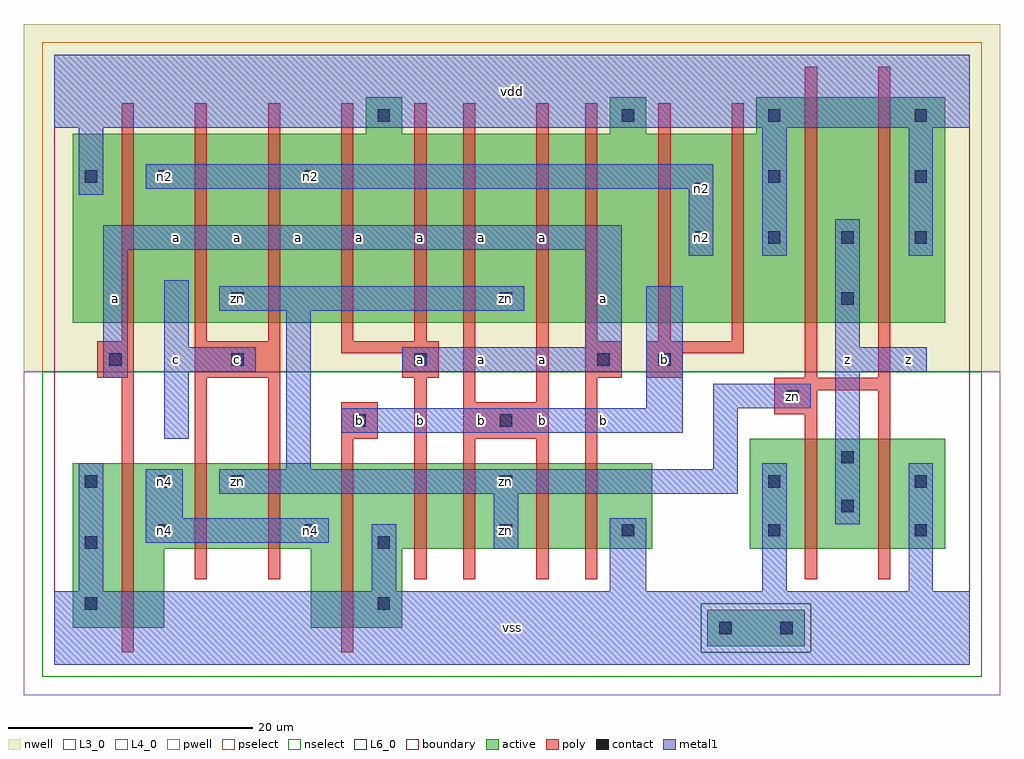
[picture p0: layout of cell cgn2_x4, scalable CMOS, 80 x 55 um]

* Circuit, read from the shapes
.subckt cgn2_x4 a b c n2 n4 vdd vss z zn
M1 n4 a vss vss nfet w=13.5u l=1u
M2 zn c n4 vss nfet w=7u l=1u m=2
M3 vss b n4 vss nfet w=13.5u l=1u
M4 n1 a vss vss nfet w=7u l=1u
M5 zn b n1 vss nfet w=7u l=1u
M6 n3 b zn vss nfet w=7u l=1u
M7 vss a n3 vss nfet w=7u l=1u
M8 z zn vss vss nfet w=9u l=1u m=2
M9 n2 a vdd n5 pfet w=15.5u l=1u m=2
M10 zn c n2 n5 pfet w=15.5u l=1u m=2
M11 n6 a vdd n5 pfet w=15.5u l=1u
M12 zn b n6 n5 pfet w=15.5u l=1u
M13 n7 b zn n5 pfet w=15.5u l=1u
M14 vdd a n7 n5 pfet w=15.5u l=1u
M15 n2 b vdd n5 pfet w=15.5u l=1u m=2
M16 z zn vdd n5 pfet w=18.5u l=1u m=2
.ends

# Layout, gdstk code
import gdstk
lib = gdstk.Library(unit=1e-6, precision=1e-09)
def R(c, l, rs):  # rectangles x0, y0, x1, y1
    for r in rs: c.add(gdstk.rectangle(r[:2], r[2:], *l))
def A(c, l, x, y, w, h, nx, ny, dx, dy):  # array of equal rectangles
    R(c, l, [(x+i*dx, y+j*dy, x+i*dx+w, y+j*dy+h) for i in range(nx) for j in range(ny)])
L3_0 = (3, 0)
L4_0 = (4, 0)
L6_0 = (6, 0)
contact = (25, 0)
pwell = (41, 0)
nwell = (42, 0)
active = (43, 0)
pselect = (44, 0)
nselect = (45, 0)
poly = (46, 0)
metal1 = (49, 0)
boundary = (63, 0)

cgn2_x4 = lib.new_cell('cgn2_x4')
R(cgn2_x4, L3_0, [(1.5,3,9,9.5), (21,3,28.5,9.5), (1.5,9.5,49,16.5), (57,9.5,73,18.5)])
R(cgn2_x4, L4_0, [(1.5,28,73,43.5), (25.5,43.5,28.5,46.5), (45.5,43.5,48.5,46.5), (57.5,43.5,73,46.5)])
R(cgn2_x4, L6_0, [(53.5,1.5,61.5,4.5)])
A(cgn2_x4, contact, 46.5, 10.5, 1, 1, 3, 2, 12, 34)
A(cgn2_x4, contact, 2.5, 14.5, 1, 1, 3, 1, 6, 0)
A(cgn2_x4, contact, 14.5, 24.5, 1, 1, 3, 1, 15, 0)
A(cgn2_x4, contact, 52.5, 34.5, 1, 1, 4, 1, 6, 0)
R(cgn2_x4, contact, [(54.5,2.5,55.5,3.5), (59.5,2.5,60.5,3.5), (2.5,4.5,3.5,5.5), (26.5,4.5,27.5,5.5), (2.5,9.5,3.5,10.5), (26.5,9.5,27.5,10.5), (8.5,10.5,9.5,11.5), (20.5,10.5,21.5,11.5), (36.5,10.5,37.5,11.5), (64.5,12.5,65.5,13.5), (36.5,14.5,37.5,15.5), (58.5,14.5,59.5,15.5), (70.5,14.5,71.5,15.5), (64.5,16.5,65.5,17.5), (24.5,19.5,25.5,20.5), (36.5,19.5,37.5,20.5), (60,21.5,61,22.5), (4.5,24.5,5.5,25.5), (49.5,24.5,50.5,25.5), (14.5,29.5,15.5,30.5), (36.5,29.5,37.5,30.5), (64.5,29.5,65.5,30.5), (52.5,38.5,53.5,39.5), (2.5,39.5,3.5,40.5), (8.5,39.5,9.5,40.5), (20.5,39.5,21.5,40.5), (58.5,39.5,59.5,40.5), (70.5,39.5,71.5,40.5), (26.5,44.5,27.5,45.5)])
R(cgn2_x4, pwell, [(-2.5,-2.5,77.5,24)])
R(cgn2_x4, nwell, [(-2.5,24,77.5,52.5)])
R(cgn2_x4, active, [(53.5,1.5,61.5,4.5), (1.5,3,9,9.5), (21,3,28.5,9.5), (1.5,9.5,49,16.5), (57,9.5,73,18.5), (1.5,28,73,43.5), (25.5,43.5,28.5,46.5), (45.5,43.5,48.5,46.5), (57.5,43.5,73,46.5)])
R(cgn2_x4, pselect, [(53,1,62,5), (-1,24,76,51)])
R(cgn2_x4, nselect, [(-1,-1,76,1), (-1,1,53,5), (62,1,76,5), (-1,5,76,24)])
A(cgn2_x4, poly, 5.5, 26.5, 1, 19.5, 5, 1, 6, 0)
A(cgn2_x4, poly, 43.5, 26.5, 1, 19.5, 3, 1, 6, 0)
R(cgn2_x4, poly, [(5.5,1,6.5,23.5), (23.5,1,24.5,18.5), (11.5,7,12.5,23.5), (17.5,7,18.5,23.5), (29.5,7,30.5,23.5), (33.5,7,34.5,18.5), (39.5,7,40.5,18.5), (43.5,7,44.5,23.5), (61.5,7,62.5,20.5), (67.5,7,68.5,22.5), (23.5,18.5,26.5,21.5), (33.5,18.5,40.5,21.5), (59,20.5,62.5,22.5), (33.5,21.5,34.5,46), (39.5,21.5,40.5,46), (59,22.5,68.5,23.5), (3.5,23.5,6.5,26.5), (11.5,23.5,18.5,26.5), (28.5,23.5,31.5,25.5), (43.5,23.5,46.5,26.5), (48.5,23.5,51.5,25.5), (61.5,23.5,62.5,49), (67.5,23.5,68.5,49), (23.5,25.5,31.5,26.5), (48.5,25.5,56.5,26.5)])
R(cgn2_x4, metal1, [(0,0,75,6), (0,0,75,6), (2,6,4,16.5), (2,6,4,16.5), (26,6,28,11.5), (26,6,28,11.5), (45.5,6,48.5,12), (45.5,6,48.5,12), (58,6,60,16.5), (58,6,60,16.5), (70,6,72,16.5), (70,6,72,16.5), (36,9.5,38,14), (36,9.5,38,14), (7.5,10,22.5,12), (7.5,10,22.5,12), (64,11.5,66,24), (64,11.5,66,24), (7.5,12,10.5,16), (7.5,12,10.5,16), (13.5,14,56,16), (13.5,14,56,16), (19,16,21,29), (19,16,21,29), (54,16,56,21), (54,16,56,21), (9,18.5,11,24), (9,18.5,11,24), (23.5,19,51.5,21), (23.5,19,51.5,21), (48.5,21,51.5,31), (48.5,21,51.5,31), (54,21,62,23), (54,21,62,23), (4,23.5,6,34), (4,23.5,6,34), (9,24,16.5,26), (9,24,16.5,26), (28.5,24,46.5,26), (28.5,24,46.5,26), (64,24,71.5,26), (64,24,71.5,26), (9,26,11,31.5), (9,26,11,31.5), (43.5,26,46.5,34), (43.5,26,46.5,34), (64,26,66,36.5), (64,26,66,36.5), (13.5,29,38.5,31), (13.5,29,38.5,31), (52,33.5,54,39), (52,33.5,54,39), (58,33.5,60,44), (58,33.5,60,44), (70,33.5,72,44), (70,33.5,72,44), (4,34,46.5,36), (4,34,46.5,36), (2,38.5,4,44), (2,38.5,4,44), (7.5,39,54,41), (7.5,39,54,41), (0,44,75,50), (0,44,75,50)])
R(cgn2_x4, boundary, [(0,0,75,50)])
cgn2_x4.add(gdstk.Label('n4', (9,11), layer=49, texttype=0))
cgn2_x4.add(gdstk.Label('n4', (9,15), layer=49, texttype=0))
cgn2_x4.add(gdstk.Label('zn', (15,15), layer=49, texttype=0))
cgn2_x4.add(gdstk.Label('zn', (15,30), layer=49, texttype=0))
cgn2_x4.add(gdstk.Label('n2', (9,40), layer=49, texttype=0))
cgn2_x4.add(gdstk.Label('n4', (21,11), layer=49, texttype=0))
cgn2_x4.add(gdstk.Label('n2', (21,40), layer=49, texttype=0))
cgn2_x4.add(gdstk.Label('zn', (37,11), layer=49, texttype=0))
cgn2_x4.add(gdstk.Label('zn', (37,15), layer=49, texttype=0))
cgn2_x4.add(gdstk.Label('zn', (37,30), layer=49, texttype=0))
cgn2_x4.add(gdstk.Label('n2', (53,35), layer=49, texttype=0))
cgn2_x4.add(gdstk.Label('n2', (53,39), layer=49, texttype=0))
cgn2_x4.add(gdstk.Label('zn', (60.5,22), layer=49, texttype=0))
cgn2_x4.add(gdstk.Label('c', (10,25), layer=49, texttype=0))
cgn2_x4.add(gdstk.Label('a', (5,30), layer=49, texttype=0))
cgn2_x4.add(gdstk.Label('a', (10,35), layer=49, texttype=0))
cgn2_x4.add(gdstk.Label('b', (25,20), layer=49, texttype=0))
cgn2_x4.add(gdstk.Label('c', (15,25), layer=49, texttype=0))
cgn2_x4.add(gdstk.Label('a', (15,35), layer=49, texttype=0))
cgn2_x4.add(gdstk.Label('a', (20,35), layer=49, texttype=0))
cgn2_x4.add(gdstk.Label('a', (25,35), layer=49, texttype=0))
cgn2_x4.add(gdstk.Label('vss', (37.5,3), layer=49, texttype=0))
cgn2_x4.add(gdstk.Label('b', (35,20), layer=49, texttype=0))
cgn2_x4.add(gdstk.Label('b', (40,20), layer=49, texttype=0))
cgn2_x4.add(gdstk.Label('b', (30,20), layer=49, texttype=0))
cgn2_x4.add(gdstk.Label('a', (30,25), layer=49, texttype=0))
cgn2_x4.add(gdstk.Label('a', (35,25), layer=49, texttype=0))
cgn2_x4.add(gdstk.Label('a', (40,25), layer=49, texttype=0))
cgn2_x4.add(gdstk.Label('a', (30,35), layer=49, texttype=0))
cgn2_x4.add(gdstk.Label('a', (35,35), layer=49, texttype=0))
cgn2_x4.add(gdstk.Label('a', (40,35), layer=49, texttype=0))
cgn2_x4.add(gdstk.Label('vdd', (37.5,47), layer=49, texttype=0))
cgn2_x4.add(gdstk.Label('b', (45,20), layer=49, texttype=0))
cgn2_x4.add(gdstk.Label('b', (50,25), layer=49, texttype=0))
cgn2_x4.add(gdstk.Label('a', (45,30), layer=49, texttype=0))
cgn2_x4.add(gdstk.Label('z', (65,25), layer=49, texttype=0))
cgn2_x4.add(gdstk.Label('z', (70,25), layer=49, texttype=0))

lib.write_gds('cgn2_x4.gds')
